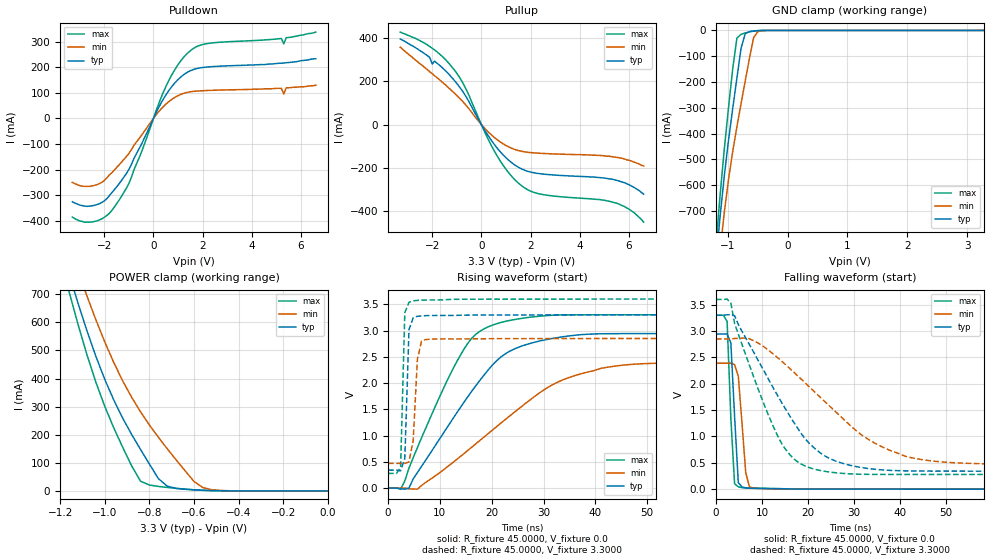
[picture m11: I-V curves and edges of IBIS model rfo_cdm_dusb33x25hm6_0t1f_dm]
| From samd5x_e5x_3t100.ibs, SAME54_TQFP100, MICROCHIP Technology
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|   MODEL : rfo_cdm_dusb33x25hm6_0t1f_dm
[Model] rfo_cdm_dusb33x25hm6_0t1f_dm
Model_type I/O
Polarity   Inverting
Enable   Active-Low
Vinl =   0.8000V
Vinh =   1.3000V
Vmeas =  0.0V
C_comp   5.0000pF   5.0000pF   5.0000pF
[Temperature Range]   25.0000   0.1250k   -40.0000
[Voltage Range]   3.3000V   2.8500V   3.6000V
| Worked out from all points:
|   slope of the pulldown table from 0 to 0.495 V, typ, clamps not added: 5.48 ohm
|   slope of the pullup table from 0 to 0.495 V, typ, clamps not added: 5.65 ohm
|   GND clamp passes 1 mA (typ) near -0.52 V on its own axis
|   POWER clamp passes 1 mA (typ) near -0.51 V on its own axis
|   rising waveform, R_fixture 45.0000, V_fixture 0.0: 20-80 % time 12.6ns typ, 18.4ns min, 9.43ns max; typ from 0 V to 2.94 V
|   rising waveform, R_fixture 45.0000, V_fixture 3.3000: 20-80 % time 585ps typ, 751ps min, 548ps max; typ from 0.342 V to 3.3 V
|   falling waveform, R_fixture 45.0000, V_fixture 0.0: 20-80 % time 1.08ns typ, 1.26ns min, 1.02ns max; typ from 2.94 V to 0 V
|   falling waveform, R_fixture 45.0000, V_fixture 3.3000: 20-80 % time 12.1ns typ, 18.1ns min, 8.9ns max; typ from 3.3 V to 0.342 V
[Pulldown]
|Voltage   I(typ)   I(min)   I(max)
-3.3V     -326mA     -250mA     -386mA
-2.4V     -340mA     -262mA     -403mA
-2V       -323mA     -243mA     -387mA
-1.6V     -280mA     -203mA     -348mA
-1V       -199.8mA   -137mA     -254.3mA
600mV     105.7mA    64.03mA    143.9mA
1.5V      186.8mA    104.4mA    265.1mA
2.6V      204.1mA    110.8mA    297.5mA
5.2V      216mA      118mA      313mA
5.3V      217mA      96mA       292mA
5.4V      218mA      120mA      316mA
6.6V      234mA      130mA      338mA
[Pullup]
|Voltage   I(typ)   I(min)   I(max)
-3.3V     397mA      359mA      429mA
-2.2V     320mA      255mA      370mA
-2V       281mA      236mA      354mA
-1.9V     294mA      226mA      346mA
-1.1V     204.8mA    146.1mA    253.6mA
-600mV    124.9mA    86.36mA    159mA
600mV     -103.2mA   -66.52mA   -137.5mA
1.1V      -164.4mA   -103.1mA   -222.2mA
1.6V      -203.9mA   -123.3mA   -280.7mA
2.4V      -228.3mA   -133.4mA   -322.6mA
5.5V      -259mA     -152mA     -365mA
6.6V      -323mA     -193mA     -453mA
[GND_clamp]
|Voltage   I(typ)   I(min)   I(max)
-3.3V     -7.362A    -7.791A    -7.851A
-1.2V     -892.8mA   -1.02A     -833.3mA
-1.13V    -719mA     -852.6mA   -636.2mA
-1.06V    -562.8mA   -704.4mA   -458.3mA
-990mV    -426mA     -577.7mA   -298.9mA
-920mV    -302.5mA   -469.8mA   -148.5mA
-850mV    -184.9mA   -373.8mA   -29.89mA
-780mV    -68.43mA   -283.2mA   -14.97mA
-710mV    -11.66mA   -195.1mA   -9.81mA
-570mV    -1.996mA   -28.02mA   -2.534mA
-500mV    -622uA     -4.41mA    -665uA
3.28V     408.9pA    490.6uA    407.6pA
[POWER_clamp]
|Voltage   I(typ)   I(min)   I(max)
-3.28V    7.541A     7.017A     8.21A
-1.16V    772.2mA    877.6mA    709.1mA
-1.12V    668.3mA    783.8mA    593.1mA
-1.08V    570.2mA    694.1mA    484.9mA
-1.04V    479.2mA    609.2mA    387.1mA
-960mV    324mA      457.5mA    225mA
-840mV    147.7mA    281.9mA    34.84mA
-760mV    44.04mA    191.2mA    16.04mA
-720mV    16.86mA    150mA      12.34mA
-600mV    3.803mA    33.54mA    3.999mA
-560mV    2.278mA    11.71mA    2.229mA
0V        431.4pA    4.81nA     456.2pA
[Ramp]
| variable   typ   min   max
dV/dt_r  1.7658/12.4887n   1.4340/18.1656n   1.9806/9.3317n
dV/dt_f  1.7750/11.9891n   1.4276/17.9268n   1.9927/8.8130n
R_load = 45.0000
[Rising Waveform]
R_fixture= 45.0000
V_fixture= 0.0
V_fixture_min= 0.0
V_fixture_max= 0.0
|time   V(typ)   V(min)   V(max)
0s        0V         0V         0V
2.42ns    -13.77mV   0V         -19.75mV
4.04ns    -1.334mV   -14.36mV   381.1mV
13.74ns   1.503V     584mV      2.493V
16.16ns   1.846V     779.5mV    2.855V
19.39ns   2.258V     1.043V     3.074V
26.67ns   2.733V     1.623V     3.245V
33.13ns   2.873V     2.035V     3.297V
41.21ns   2.939V     2.282V     3.301V
80ns      2.943V     2.39V      3.301V
[Rising Waveform]
R_fixture= 45.0000
V_fixture= 3.3000
V_fixture_min= 2.8500
V_fixture_max= 3.6000
|time   V(typ)   V(min)   V(max)
0s        341.6mV    469.6mV    278.8mV
1.62ns    341.6mV    469.6mV    279.7mV
2.42ns    327.7mV    469.6mV    393.3mV
3.23ns    561.5mV    469.6mV    3.34V
4.04ns    3.019V     496.7mV    3.539V
4.85ns    3.246V     909.9mV    3.565V
5.66ns    3.271V     2.451V     3.575V
6.46ns    3.28V      2.803V     3.58V
7.27ns    3.284V     2.829V     3.581V
80ns      3.3V       2.85V      3.6V
[Falling Waveform]
R_fixture= 45.0000
V_fixture= 0.0
V_fixture_min= 0.0
V_fixture_max= 0.0
|time   V(typ)   V(min)   V(max)
0s        2.943V     2.391V     3.301V
1.62ns    2.943V     2.391V     3.301V
2.42ns    2.947V     2.391V     3.181V
3.23ns    2.772V     2.391V     1.344V
4.04ns    1.382V     2.363V     102.2mV
4.85ns    123.3mV    2.141V     45.06mV
6.46ns    25.59mV    311.8mV    22.58mV
7.27ns    18.43mV    44.07mV    20.17mV
12.12ns   13.24mV    7.776mV    7.186mV
80ns      4.572uV    18.82uV    2.731uV
[Falling Waveform]
R_fixture= 45.0000
V_fixture= 3.3000
V_fixture_min= 2.8500
V_fixture_max= 3.6000
|time   V(typ)   V(min)   V(max)
0s        3.3V       2.85V      3.6V
3.23ns    3.31V      2.85V      3.53V
4.04ns    3.292V     2.859V     3.145V
8.08ns    2.615V     2.821V     2.156V
13.74ns   1.722V     2.469V     948.1mV
19.39ns   953.3mV    2.015V     439.1mV
26.67ns   513.1mV    1.413V     305.8mV
33.13ns   391.1mV    943.4mV    280.9mV
41.21ns   346.8mV    621.3mV    278.9mV
80ns      341.6mV    470.7mV    278.8mV
